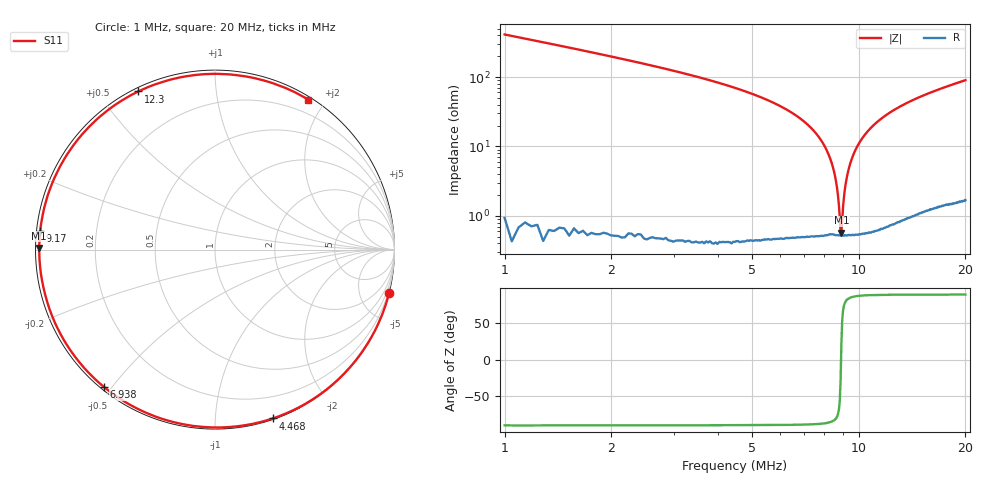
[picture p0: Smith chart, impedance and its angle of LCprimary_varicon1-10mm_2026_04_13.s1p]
# HZ S RI R 50
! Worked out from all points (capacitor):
!   401 points, 1 MHz to 20 MHz, reference 50 ohm
!   read as one part to ground: C = 382 pF near 1.095 MHz
!   lowest |Z| = 571 mohm at 8.932 MHz (marker M1)
!   series resonance near 8.912 MHz, so ESL is about 830 nH
!   S11 on the Smith chart (normalised r, x): 1 MHz: 0.02, -8.22; 4.468 MHz: 0.01, -1.40; 6.938 MHz: 0.01, -0.48; 9.17 MHz: 0.01, +0.05; 12.3 MHz: 0.01, +0.63; 20 MHz: 0.03, +1.80
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1000000  0.9703 -0.2396
1617500  0.9217 -0.3856
2235000  0.8472 -0.5281
2805000  0.7537 -0.6538
3375000  0.6334 -0.7699
3897500  0.498 -0.8626
4467500  0.3225 -0.9406
5132500  0.0844 -0.9883
5750000  -0.1594 -0.9763
6367500  -0.4071 -0.8987
6937500  -0.6194 -0.7646
7555000  -0.8067 -0.5593
8125000  -0.922 -0.3318
8552500  -0.9673 -0.1517
8932500  -0.9791 0.00865
9170000  -0.9736 0.1056
9787500  -0.9192 0.3381
1.05e7  -0.8051 0.5582
1.09275e7  -0.7209 0.6635
1.1355e7  -0.6309 0.7494
1.2305e7  -0.4276 0.881
1.2875e7  -0.3111 0.9282
1.39675e7  -0.1098 0.9729
1.525e7  0.0856 0.9757
1.639e7  0.2254 0.954
1.7625e7  0.3479 0.9178
1.88125e7  0.4429 0.8779
2e7  0.5204 0.8355
